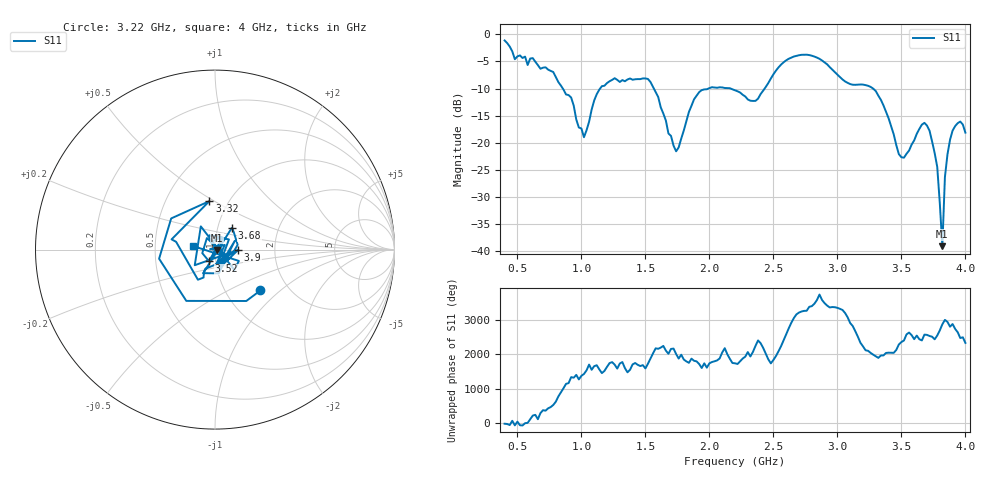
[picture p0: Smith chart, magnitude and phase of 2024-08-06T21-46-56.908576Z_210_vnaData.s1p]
!Created with skrf (http://scikit-rf.org).
# Hz S RI R 50.0
!freq ReS11 ImS11
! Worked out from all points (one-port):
!   181 points, 400 MHz to 4 GHz, reference 50 ohm
!   lowest |S11| = -39.1 dB at 3.82 GHz (marker M1), VSWR 1.02, Z = 51.1 - j0.173 ohm
!   |S11| at or under -10 dB: 855 MHz to 1.146 GHz (291.1 MHz wide, 29.1 % of centre); 1.566 GHz to 1.992 GHz (425.9 MHz wide, 23.9 % of centre); 3.279 GHz to end of sweep (the widest 3 of 4)
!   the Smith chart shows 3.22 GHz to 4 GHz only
!   S11 on the Smith chart (normalised r, x): 3.22 GHz: 1.45, -0.75; 3.32 GHz: 0.81, +0.48; 3.52 GHz: 0.93, -0.12; 3.68 GHz: 1.17, +0.29; 3.9 GHz: 1.30, -0.00; 4 GHz: 0.78, +0.03
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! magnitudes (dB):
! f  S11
! 400 MHz  -1.1
! 480 MHz  -4.6
! 620 MHz  -4.4
! 860 MHz  -10.2
! 920 MHz  -11.7
! 1.02 GHz  -19.0
! 1.14 GHz  -10.2
! 1.3 GHz  -8.8
! 1.52 GHz  -8.2
! 1.72 GHz  -20.5
! 1.76 GHz  -20.9
! 1.92 GHz  -10.7
! 2.2 GHz  -10.3
! 2.36 GHz  -12.3
! 2.66 GHz  -4.1
! 2.86 GHz  -4.5
! 3.1 GHz  -9.2
! 3.22 GHz  -9.4
! 3.32 GHz  -11.3
! 3.52 GHz  -22.8
! 3.56 GHz  -21.4
! 3.68 GHz  -16.3
! 3.78 GHz  -24.5
! 3.82 GHz  -39.1
! 3.84 GHz  -26.4
! 3.9 GHz  -17.8
! 3.96 GHz  -16.1
! 4 GHz  -18.1
